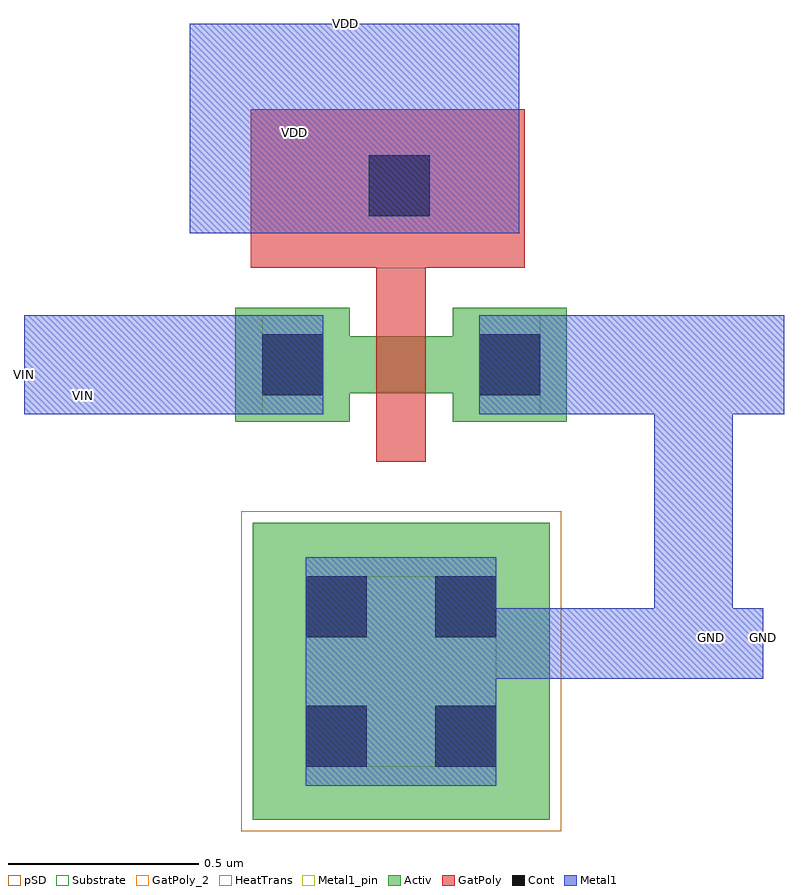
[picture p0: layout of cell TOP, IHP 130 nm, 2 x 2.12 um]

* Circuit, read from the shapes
.subckt TOP GND VDD VIN
XM1 GND VDD VIN GND sg13_lv_nmos w=0.15u l=0.13u
.ends

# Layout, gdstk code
from math import pi, radians
import gdstk
lib = gdstk.Library(unit=1e-6, precision=1e-09)
def R(c, l, rs):  # rectangles x0, y0, x1, y1
    for r in rs: c.add(gdstk.rectangle(r[:2], r[2:], *l))
Activ = (1, 0)
GatPoly = (5, 0)
GatPoly_2 = (5, 2)
Cont = (6, 0)
Metal1 = (8, 0)
Metal1_pin = (8, 2)
pSD = (14, 0)
Substrate = (40, 0)
HeatTrans = (51, 0)

nmos_1 = lib.new_cell('nmos$1')
R(nmos_1, Activ, [(0,0,0.3,0.3), (0.57,0,0.87,0.3), (0,0.075,0.87,0.225)])
R(nmos_1, GatPoly, [(0.37,-0.105,0.5,0.405)])
R(nmos_1, GatPoly_2, [(0.37,-0.105,0.5,0.405)])
R(nmos_1, Cont, [(0.07,0.07,0.23,0.23), (0.64,0.07,0.8,0.23)])
R(nmos_1, Metal1, [(0.07,0.02,0.23,0.28), (0.64,0.02,0.8,0.28)])
R(nmos_1, Metal1_pin, [(0.07,0.02,0.23,0.28), (0.64,0.02,0.8,0.28)])
R(nmos_1, HeatTrans, [(0.37,-0.105,0.5,0.405)])
nmos_1.add(gdstk.Label('nmos', (0.435,0.15), layer=63, texttype=0))
nmos_1.add(gdstk.Label('nmos', (0.435,0.15), layer=51, texttype=0))

ptap1_1 = lib.new_cell('ptap1$1')
R(ptap1_1, Activ, [(0,0,0.78,0.78)])
R(ptap1_1, Cont, [(0.14,0.14,0.3,0.3), (0.48,0.14,0.64,0.3), (0.14,0.48,0.3,0.64), (0.48,0.48,0.64,0.64)])
R(ptap1_1, Metal1, [(0.14,0.09,0.64,0.69), (0.14,0.14,0.64,0.64)])
R(ptap1_1, Metal1_pin, [(0.14,0.14,0.64,0.64)])
R(ptap1_1, pSD, [(-0.03,-0.03,0.81,0.81)])
R(ptap1_1, Substrate, [(0,0,0.78,0.78)])
ptap1_1.add(gdstk.Label('sub!', (0.39,0.01), layer=63, texttype=0))
ptap1_1.add(gdstk.Label('sub!', (0.39,0.01), layer=40, texttype=0))

top = lib.new_cell('TOP')
R(top, GatPoly, [(-0.805,0.415,-0.085,0.83)])
R(top, Cont, [(-0.495,0.55,-0.335,0.71)])
R(top, Metal1, [(-0.16,-0.665,0.54,-0.48), (0.255,-0.48,0.46,0.03), (-1.4,0.03,-0.775,0.29), (-0.045,0.03,0.595,0.29), (-0.965,0.505,-0.1,1.055)])
top.add(gdstk.Reference(nmos_1, (0.025,0.31), rotation=pi))
top.add(gdstk.Reference(ptap1_1, (-0.8,-1.035)))
top.add(gdstk.Label('GND', (0.405,-0.555), layer=8, texttype=2))
top.add(gdstk.Label('VDD', (-0.69,0.77), layer=8, texttype=2))
top.add(gdstk.Label('VIN', (-1.245,0.08), layer=8, texttype=2))
top.add(gdstk.Label('VIN', (-1.4,0.135), layer=8, texttype=1))
top.add(gdstk.Label('VDD', (-0.555,1.055), layer=8, texttype=1))
top.add(gdstk.Label('GND', (0.54,-0.555), layer=8, texttype=1))

lib.write_gds('TOP.gds')
